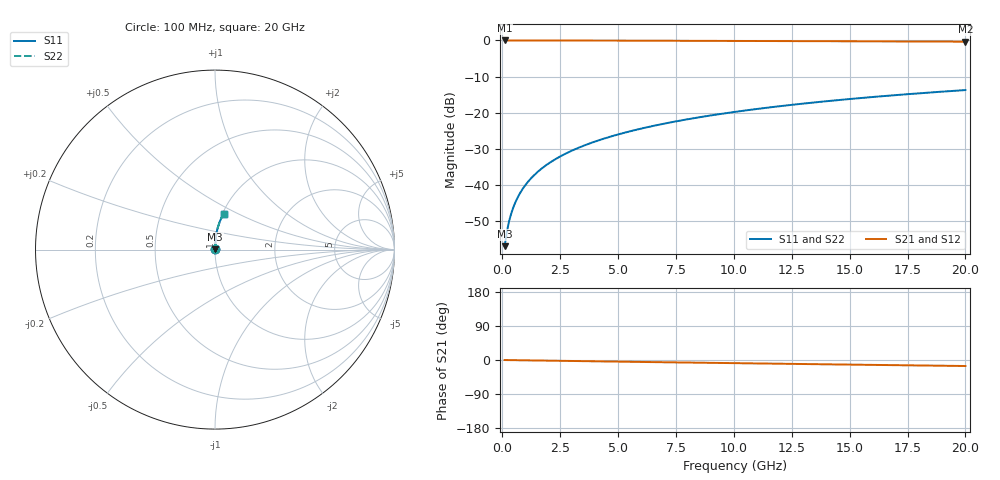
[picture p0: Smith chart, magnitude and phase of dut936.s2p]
! Touchstone file exported from HFSS 2024.1.0
!  File:  C:/UserFiles/LocalFiles/RDL_TSV_Batchsim/temp_RDL_bottom_936_1779941576.aedt
!  Generated:  12:15:30 PM May 28, 2026
!  Design:  RDL_bottom
!  Project:  temp_RDL_bottom_936_1779941576
!  Setup:  Setup1
!  Solution:  Sweep
! Variables:
!  dtsv = 10.80580581um
!  hbump = 3um
!  htsv = 62.63um
!  ldown = 161.83um
!  lrdl = 100um
!  p = 40
!  p1 = 57.02um
!  rhole = 1um
!  t = 450um
!  tdown = 4.23um
!  trdl = 3.915915916um
!  wdown = 16.54um
!  wrdl = 20um
# GHz S MA R 50.000000
! Terminal data exported
! Port[1] = RDL1_T1
! Port[2] = RDL1_T2
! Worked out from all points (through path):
!   200 points, 100 MHz to 20 GHz, reference 50 ohm
!   highest |S21| = -0.01 dB at 100 MHz (marker M1); lowest = -0.3 dB at 20 GHz (marker M2)
!   group delay of S21, straight-line fit = 2.19 ps
!   lowest |S11| = -57.0 dB at 100 MHz (marker M3), VSWR 1.00, Z = 50.1 + j0.103 ohm
!   |S11| at or under -10 dB: start of sweep to end of sweep
!   |S22| runs from -57.0 to -13.8 dB; largest |S21 - S12| = 2e-15
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0.1  0.001413 46.5  0.999 -0.1  0.999 -0.1  0.001413 46.5
! Gamma 0 0 0 0
! Port Impedance 50 0 50 0
0.2  0.002267 63.8  0.999 -0.2  0.999 -0.2  0.002267 63.8
0.3  0.003197 71.1  0.9989 -0.3  0.9989 -0.3  0.003197 71.1
0.4  0.004146 75.2  0.9989 -0.4  0.9989 -0.4  0.004146 75.2
0.5  0.005102 77.7  0.9989 -0.4  0.9989 -0.4  0.005102 77.7
0.7  0.007028 80.9  0.9988 -0.6  0.9988 -0.6  0.007028 80.9
0.8  0.007996 81.9  0.9987 -0.7  0.9987 -0.7  0.007996 81.9
1  0.009939 83.3  0.9986 -0.9  0.9986 -0.9  0.009939 83.3
1.2  0.01189 84.3  0.9985 -1.1  0.9985 -1.1  0.01189 84.3
1.4  0.01385 85.0  0.9984 -1.2  0.9984 -1.2  0.01385 85.0
1.7  0.01679 85.7  0.9982 -1.5  0.9982 -1.5  0.01679 85.7
2  0.01975 86.1  0.998 -1.8  0.998 -1.8  0.01975 86.1
2.7  0.02668 86.8  0.9972 -2.4  0.9972 -2.4  0.02668 86.8
3.5  0.03467 87.0  0.9962 -3.1  0.9962 -3.1  0.03467 87.0
4.2  0.04172 87.0  0.9952 -3.7  0.9952 -3.7  0.04172 87.0
5  0.04984 86.9  0.9939 -4.3  0.9939 -4.3  0.04984 86.9
6.8  0.06837 86.2  0.9907 -5.8  0.9907 -5.8  0.06837 86.2
8.3  0.08402 85.4  0.9877 -7.0  0.9877 -7.0  0.08402 85.4
10.1  0.1029 84.2  0.984 -8.4  0.984 -8.4  0.1029 84.2
13.4  0.1376 81.8  0.977 -10.9  0.977 -10.9  0.1376 81.8
16.7  0.1718 79.2  0.9695 -13.4  0.9695 -13.4  0.1718 79.2
20  0.2053 76.6  0.9613 -15.9  0.9613 -15.9  0.2053 76.6
